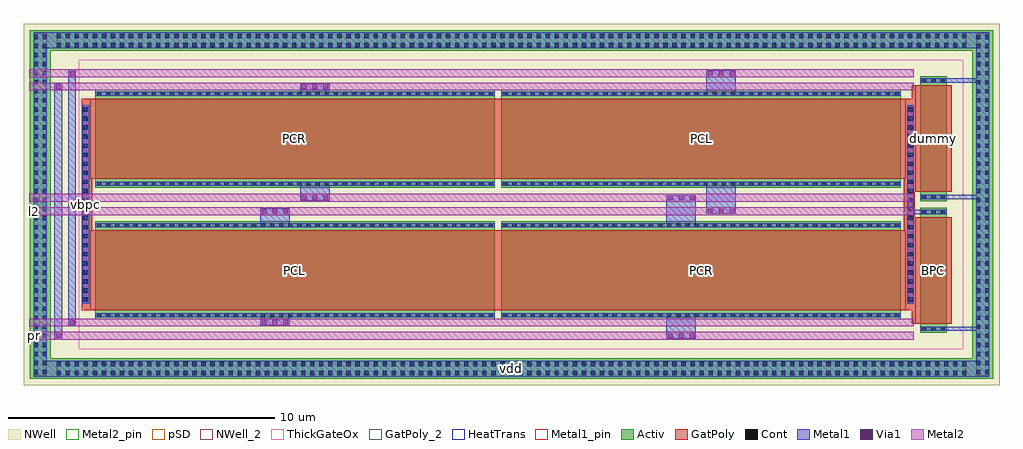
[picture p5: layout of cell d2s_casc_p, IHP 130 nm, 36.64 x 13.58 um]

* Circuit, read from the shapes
.subckt d2s_casc_p a l2 pl pr vbpc vdd
XM1 l2 vbpc pl vdd sg13_hv_pmos w=15u l=3u m=2
XM2 pr vbpc a vdd sg13_hv_pmos w=15u l=3u m=2
XM3 vbpc vbpc vdd vdd sg13_hv_pmos w=1u l=4u
XM4 vdd vbpc vdd vdd sg13_hv_pmos w=1u l=4u
.ends

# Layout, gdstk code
from math import pi, radians
import gdstk
lib = gdstk.Library(unit=1e-6, precision=1e-09)
def R(c, l, rs):  # rectangles x0, y0, x1, y1
    for r in rs: c.add(gdstk.rectangle(r[:2], r[2:], *l))
def A(c, l, x, y, w, h, nx, ny, dx, dy):  # array of equal rectangles
    R(c, l, [(x+i*dx, y+j*dy, x+i*dx+w, y+j*dy+h) for i in range(nx) for j in range(ny)])
Activ = (1, 0)
GatPoly = (5, 0)
GatPoly_2 = (5, 2)
Cont = (6, 0)
Metal1 = (8, 0)
Metal1_pin = (8, 2)
Metal2 = (10, 0)
Metal2_pin = (10, 2)
pSD = (14, 0)
Via1 = (19, 0)
NWell = (31, 0)
NWell_2 = (31, 2)
ThickGateOx = (44, 0)
HeatTrans = (51, 0)

pmoshv_3 = lib.new_cell('pmosHV$3')
R(pmoshv_3, Activ, [(0,0,0.3,0.3), (0,0,3.68,15), (3.38,0,3.68,0.3)])
R(pmoshv_3, GatPoly, [(0.34,-0.18,3.34,15.18)])
R(pmoshv_3, GatPoly_2, [(0.34,-0.18,3.34,15.18)])
A(pmoshv_3, Cont, 0.07, 0.07, 0.16, 0.16, 1, 3, 0, 0.34)
A(pmoshv_3, Cont, 3.45, 0.07, 0.16, 0.16, 1, 3, 0, 0.34)
A(pmoshv_3, Cont, 0.07, 1.095, 0.16, 0.16, 1, 3, 0, 0.34)
A(pmoshv_3, Cont, 3.45, 1.095, 0.16, 0.16, 1, 3, 0, 0.34)
A(pmoshv_3, Cont, 0.07, 2.12, 0.16, 0.16, 1, 3, 0, 0.34)
A(pmoshv_3, Cont, 3.45, 2.12, 0.16, 0.16, 1, 3, 0, 0.34)
A(pmoshv_3, Cont, 0.07, 3.83, 0.16, 0.16, 1, 3, 0, 0.34)
A(pmoshv_3, Cont, 3.45, 3.83, 0.16, 0.16, 1, 3, 0, 0.34)
A(pmoshv_3, Cont, 0.07, 4.855, 0.16, 0.16, 1, 3, 0, 0.34)
A(pmoshv_3, Cont, 3.45, 4.855, 0.16, 0.16, 1, 3, 0, 0.34)
A(pmoshv_3, Cont, 0.07, 6.565, 0.16, 0.16, 1, 3, 0, 0.34)
A(pmoshv_3, Cont, 3.45, 6.565, 0.16, 0.16, 1, 3, 0, 0.34)
A(pmoshv_3, Cont, 0.07, 7.59, 0.16, 0.16, 1, 3, 0, 0.34)
A(pmoshv_3, Cont, 3.45, 7.59, 0.16, 0.16, 1, 3, 0, 0.34)
A(pmoshv_3, Cont, 0.07, 9.3, 0.16, 0.16, 1, 3, 0, 0.34)
A(pmoshv_3, Cont, 3.45, 9.3, 0.16, 0.16, 1, 3, 0, 0.34)
A(pmoshv_3, Cont, 0.07, 10.325, 0.16, 0.16, 1, 3, 0, 0.34)
A(pmoshv_3, Cont, 3.45, 10.325, 0.16, 0.16, 1, 3, 0, 0.34)
A(pmoshv_3, Cont, 0.07, 12.035, 0.16, 0.16, 1, 3, 0, 0.34)
A(pmoshv_3, Cont, 3.45, 12.035, 0.16, 0.16, 1, 3, 0, 0.34)
A(pmoshv_3, Cont, 0.07, 13.06, 0.16, 0.16, 1, 3, 0, 0.34)
A(pmoshv_3, Cont, 3.45, 13.06, 0.16, 0.16, 1, 3, 0, 0.34)
R(pmoshv_3, Cont, [(0.07,3.145,0.23,3.305), (3.45,3.145,3.61,3.305), (0.07,3.485,0.23,3.645), (3.45,3.485,3.61,3.645), (0.07,5.88,0.23,6.04), (3.45,5.88,3.61,6.04), (0.07,6.22,0.23,6.38), (3.45,6.22,3.61,6.38), (0.07,8.615,0.23,8.775), (3.45,8.615,3.61,8.775), (0.07,8.955,0.23,9.115), (3.45,8.955,3.61,9.115), (0.07,11.35,0.23,11.51), (3.45,11.35,3.61,11.51), (0.07,11.69,0.23,11.85), (3.45,11.69,3.61,11.85), (0.07,14.085,0.23,14.245), (3.45,14.085,3.61,14.245), (0.07,14.425,0.23,14.585), (3.45,14.425,3.61,14.585), (0.07,14.77,0.23,14.93), (3.45,14.77,3.61,14.93)])
R(pmoshv_3, Metal1, [(0.07,0,0.23,15), (3.45,0,3.61,15)])
R(pmoshv_3, Metal1_pin, [(0.07,0,0.23,15), (3.45,0,3.61,15)])
R(pmoshv_3, pSD, [(-0.18,-0.4,3.86,15.4)])
R(pmoshv_3, NWell, [(-0.62,-0.62,4.3,15.62)])
R(pmoshv_3, ThickGateOx, [(-0.62,-0.62,4.3,15.62)])
R(pmoshv_3, HeatTrans, [(0.34,-0.18,3.34,15.18)])
pmoshv_3.add(gdstk.Label('pmosHV', (1.84,7.5), layer=63, texttype=0))
pmoshv_3.add(gdstk.Label('pmos', (1.84,7.5), layer=51, texttype=0))

pmoshv_4 = lib.new_cell('pmosHV$4')
R(pmoshv_4, Activ, [(0,0,0.3,0.3), (0,0,4.68,1), (4.38,0,4.68,0.3)])
R(pmoshv_4, GatPoly, [(0.34,-0.18,4.34,1.18)])
R(pmoshv_4, GatPoly_2, [(0.34,-0.18,4.34,1.18)])
A(pmoshv_4, Cont, 0.07, 0.07, 0.16, 0.16, 1, 3, 0, 0.35)
A(pmoshv_4, Cont, 4.45, 0.07, 0.16, 0.16, 1, 3, 0, 0.35)
R(pmoshv_4, Metal1, [(0.07,0,0.23,1), (4.45,0,4.61,1)])
R(pmoshv_4, Metal1_pin, [(0.07,0,0.23,1), (4.45,0,4.61,1)])
R(pmoshv_4, pSD, [(-0.18,-0.4,4.86,1.4)])
R(pmoshv_4, NWell, [(-0.62,-0.62,5.3,1.62)])
R(pmoshv_4, ThickGateOx, [(-0.62,-0.62,5.3,1.62)])
R(pmoshv_4, HeatTrans, [(0.34,-0.18,4.34,1.18)])
pmoshv_4.add(gdstk.Label('pmosHV', (2.34,0.5), layer=63, texttype=0))
pmoshv_4.add(gdstk.Label('pmos', (2.34,0.5), layer=51, texttype=0))

ntap1_20 = lib.new_cell('ntap1$20')
R(ntap1_20, Activ, [(0,0,0.78,13.1)])
A(ntap1_20, Cont, 0.14, 0.18, 0.16, 0.16, 1, 38, 0, 0.34)
A(ntap1_20, Cont, 0.48, 0.18, 0.16, 0.16, 1, 38, 0, 0.34)
R(ntap1_20, Metal1, [(0.14,0.13,0.64,12.97)])
R(ntap1_20, Metal1_pin, [(0.14,0.13,0.64,12.97), (0.14,0.18,0.64,12.92)])
R(ntap1_20, NWell, [(-0.24,-0.24,1.02,13.34), (0,0,0.78,13.1)])
R(ntap1_20, NWell_2, [(0,0,0.78,13.1)])
ntap1_20.add(gdstk.Label('well', (0.39,0.01), layer=63, texttype=0))
ntap1_20.add(gdstk.Label('well', (0.39,0.01), layer=31, texttype=0))

ntap1_21 = lib.new_cell('ntap1$21')
R(ntap1_21, Activ, [(0,0,34.6,0.78)])
A(ntap1_21, Cont, 0.22, 0.14, 0.16, 0.16, 101, 2, 0.34, 0.34)
R(ntap1_21, Metal1, [(0.22,0.09,34.38,0.69)])
R(ntap1_21, Metal1_pin, [(0.22,0.09,34.38,0.69), (0.22,0.14,34.38,0.64)])
R(ntap1_21, NWell, [(-0.24,-0.24,34.84,1.02), (0,0,34.6,0.78)])
R(ntap1_21, NWell_2, [(0,0,34.6,0.78)])
ntap1_21.add(gdstk.Label('well', (17.3,0.01), layer=63, texttype=0))
ntap1_21.add(gdstk.Label('well', (17.3,0.01), layer=31, texttype=0))

d2s_casc_p = lib.new_cell('d2s_casc_p')
R(d2s_casc_p, GatPoly, [(30.65,-0.16,30.87,3.84), (-0.51,0.34,-0.1,8.28), (30.35,0.34,30.76,8.28), (30.65,4.78,30.87,8.78)])
A(d2s_casc_p, Cont, -0.44, 0.66, 0.16, 0.16, 1, 22, 0, 0.34)
A(d2s_casc_p, Cont, 30.53, 0.66, 0.16, 0.16, 1, 22, 0, 0.34)
R(d2s_casc_p, Metal1, [(-2.31,-2.15,33.57,-2.11), (-1.91,-2.15,-1.35,-1.55), (32.61,-2.15,33.17,-1.55), (-1.53,-0.765,-1.24,8.885), (21.445,-0.725,22.555,0.23), (31.87,-0.43,33.17,-0.27), (-1.01,-0.265,-0.72,9.385), (6.195,-0.225,7.305,0.23), (-0.49,0.59,-0.23,8.03), (30.48,0.59,30.74,8.03), (6.195,3.45,7.305,4.165), (21.445,3.45,22.555,4.665), (30.48,3.95,31.07,4.11), (22.945,3.955,24.055,5.17), (7.695,4.455,8.805,5.17), (31.87,4.51,33.17,4.67), (7.695,8.39,8.805,8.845), (22.945,8.39,24.055,9.345), (31.87,8.89,33.17,9.05), (-1.91,10.17,-1.35,10.77), (32.61,10.17,33.17,10.77), (-2.31,10.73,33.57,10.77)])
R(d2s_casc_p, Metal1_pin, [(-1.45,-2.15,32.71,-1.55), (-0.49,0.59,-0.23,8.03)])
R(d2s_casc_p, Metal2_pin, [(-2.48,-0.765,-2.08,-0.475), (-2.48,-0.265,-2.08,0.025), (-2.48,3.915,-2.08,4.205), (-2.48,4.415,-2.08,4.705)])
R(d2s_casc_p, pSD, [(-0.62,-1.12,32.59,9.74)])
A(d2s_casc_p, Via1, 21.495, -0.715, 0.19, 0.19, 3, 2, 0.41, 5.18)
A(d2s_casc_p, Via1, 6.245, -0.215, 0.19, 0.19, 3, 2, 0.41, 4.18)
A(d2s_casc_p, Via1, 22.995, 3.965, 0.19, 0.19, 3, 2, 0.41, 5.18)
A(d2s_casc_p, Via1, 7.745, 4.465, 0.19, 0.19, 3, 2, 0.41, 4.18)
R(d2s_casc_p, Via1, [(-1.48,-0.715,-1.29,-0.525), (-0.96,-0.215,-0.77,-0.025), (-1.48,8.645,-1.29,8.835), (-0.96,9.145,-0.77,9.335)])
R(d2s_casc_p, NWell, [(-2.69,-2.48,33.95,11.1)])
R(d2s_casc_p, ThickGateOx, [(-0.62,-1.12,32.59,9.74)])
d2s_casc_p.add(gdstk.FlexPath([(-2.335,-0.62),(30.595,-0.62)], 0.29, ends="extended", simple_path=True, layer=10, datatype=0))  # Metal2
d2s_casc_p.add(gdstk.FlexPath([(-2.335,-0.12),(30.595,-0.12)], 0.29, ends="extended", simple_path=True, layer=10, datatype=0))  # Metal2
d2s_casc_p.add(gdstk.FlexPath([(-2.335,4.06),(30.595,4.06)], 0.29, ends="extended", simple_path=True, layer=10, datatype=0))  # Metal2
d2s_casc_p.add(gdstk.FlexPath([(-2.335,4.56),(30.595,4.56)], 0.29, ends="extended", simple_path=True, layer=10, datatype=0))  # Metal2
d2s_casc_p.add(gdstk.FlexPath([(-2.335,8.74),(30.595,8.74)], 0.29, ends="extended", simple_path=True, layer=10, datatype=0))  # Metal2
d2s_casc_p.add(gdstk.FlexPath([(-2.335,9.24),(30.595,9.24)], 0.29, ends="extended", simple_path=True, layer=10, datatype=0))  # Metal2
r = gdstk.Reference(pmoshv_3, (0,8.62), rotation=3*pi/2); r.repetition = gdstk.Repetition(2, 2, v1=(0,-4.94), v2=(15.25,0)); d2s_casc_p.add(r)
d2s_casc_p.add(gdstk.Reference(pmoshv_4, (30.97,4.18), rotation=3*pi/2))
d2s_casc_p.add(gdstk.Reference(pmoshv_4, (30.97,9.12), rotation=3*pi/2))
d2s_casc_p.add(gdstk.Reference(ntap1_20, (-2.45,-2.24)))
d2s_casc_p.add(gdstk.Reference(ntap1_20, (32.93,-2.24)))
d2s_casc_p.add(gdstk.Reference(ntap1_21, (-1.67,10.08)))
d2s_casc_p.add(gdstk.Reference(ntap1_21, (-1.67,-2.24)))
d2s_casc_p.add(gdstk.Label('PCL', (7.5,1.84), layer=63, texttype=0))
d2s_casc_p.add(gdstk.Label('PCR', (22.75,1.84), layer=63, texttype=0))
d2s_casc_p.add(gdstk.Label('PCR', (7.5,6.78), layer=63, texttype=0))
d2s_casc_p.add(gdstk.Label('PCL', (22.75,6.78), layer=63, texttype=0))
d2s_casc_p.add(gdstk.Label('BPC', (31.47,1.84), layer=63, texttype=0))
d2s_casc_p.add(gdstk.Label('dummy', (31.47,6.78), layer=63, texttype=0))
d2s_casc_p.add(gdstk.Label('vbpc', (-0.36,4.31), layer=8, texttype=25))
d2s_casc_p.add(gdstk.Label('vdd', (15.63,-1.85), layer=8, texttype=25))
d2s_casc_p.add(gdstk.Label('pr', (-2.28,-0.62), layer=10, texttype=25))
d2s_casc_p.add(gdstk.Label('pl', (-2.28,-0.12), layer=10, texttype=25))
d2s_casc_p.add(gdstk.Label('l2', (-2.28,4.06), layer=10, texttype=25))
d2s_casc_p.add(gdstk.Label('a', (-2.28,4.56), layer=10, texttype=25))

lib.write_gds('d2s_casc_p.gds')
